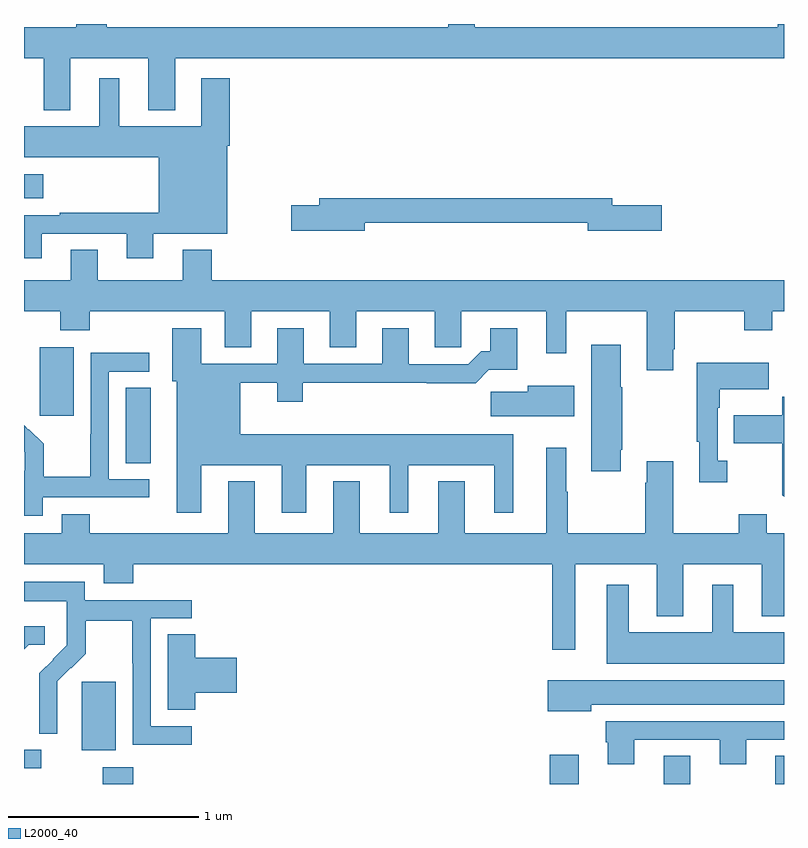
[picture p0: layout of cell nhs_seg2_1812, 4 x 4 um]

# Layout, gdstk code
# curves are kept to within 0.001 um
import gdstk
lib = gdstk.Library(unit=1e-6, precision=1e-09)
def R(c, l, rs):  # rectangles x0, y0, x1, y1
    for r in rs: c.add(gdstk.rectangle(r[:2], r[2:], *l))
def P(c, l, *ps):  # polygons
    for p in ps: c.add(gdstk.Polygon(p, *l))
L2000_40 = (2000, 40)

nhs_seg2_1812 = lib.new_cell('nhs_seg2_1812')
R(nhs_seg2_1812, L2000_40, [(205.414,659.8,205.574,659.887), (207.767,659.8,207.919,659.953), (208.367,659.8,208.507,659.948), (208.955,659.8,209,659.948), (205,659.883,205.09,659.979), (205.304,659.978,205.483,660.339), (205.535,661.489,205.666,661.886), (205.082,661.737,205.261,662.098), (205,662.882,205.102,663.01)])
P(nhs_seg2_1812, L2000_40, [(205.243,663.62),(205.655,663.62),(205.655,663.347),(205.795,663.347),(205.795,663.62),(209,663.62),(209,663.8),(208.967,663.8),(208.967,663.784),(207.373,663.784),(207.373,663.8),(207.233,663.8),(207.233,663.784),(205.436,663.784),(205.436,663.8),(205.276,663.8),(205.276,663.784),(205,663.784),(205,663.62),(205.103,663.62),(205.103,663.347),(205.243,663.347)],
  [(205.093,662.697),(205.541,662.697),(205.541,662.568),(205.681,662.568),(205.681,662.696),(206.071,662.696),(206.071,663.158),(206.084,663.158),(206.084,663.514),(205.934,663.514),(205.934,663.262),(205.501,663.262),(205.501,663.514),(205.397,663.514),(205.397,663.262),(205,663.262),(205,663.098),(205.709,663.098),(205.709,662.806),(205.189,662.806),(205.189,662.793),(205,662.793),(205,662.568),(205.093,662.568)],
  [(206.794,662.754),(207.968,662.754),(207.968,662.711),(208.357,662.711),(208.357,662.846),(208.096,662.846),(208.096,662.882),(206.555,662.882),(206.555,662.846),(206.406,662.846),(206.406,662.711),(206.794,662.711)],
  [(208.417,662.089),(208.425,662.089),(208.425,662.288),(208.792,662.288),(208.792,662.189),(208.938,662.189),(208.938,662.288),(209,662.288),(209,662.452),(205.988,662.452),(205.988,662.611),(205.835,662.611),(205.835,662.452),(205.387,662.452),(205.387,662.612),(205.247,662.612),(205.247,662.452),(205,662.452),(205,662.288),(205.192,662.288),(205.192,662.189),(205.347,662.189),(205.347,662.288),(206.057,662.288),(206.057,662.098),(206.197,662.098),(206.197,662.288),(206.609,662.288),(206.609,662.098),(206.749,662.098),(206.749,662.288),(207.161,662.288),(207.161,662.098),(207.3,662.098),(207.3,662.288),(207.749,662.288),(207.749,662.067),(207.853,662.067),(207.853,662.288),(208.277,662.288),(208.277,661.977),(208.417,661.977)],
  [(205.933,661.478),(206.357,661.478),(206.357,661.227),(206.485,661.227),(206.485,661.478),(206.924,661.478),(206.924,661.227),(207.022,661.227),(207.022,661.478),(207.476,661.478),(207.476,661.227),(207.574,661.227),(207.574,661.642),(206.137,661.642),(206.137,661.912),(206.333,661.912),(206.333,661.811),(206.468,661.811),(206.468,661.912),(207.121,661.912),(207.121,661.91),(207.377,661.91),(207.446,661.979),(207.595,661.979),(207.595,662.2),(207.455,662.2),(207.455,662.077),(207.406,662.077),(207.339,662.01),(207.025,662.01),(207.025,662.2),(206.885,662.2),(206.885,662.013),(206.473,662.013),(206.473,662.2),(206.333,662.2),(206.333,662.013),(205.933,662.013),(205.933,662.2),(205.781,662.2),(205.781,661.92),(205.805,661.92),(205.805,661.227),(205.933,661.227)],
  [(208.141,661.558),(208.149,661.558),(208.149,661.889),(208.141,661.889),(208.141,662.113),(207.986,662.113),(207.986,661.446),(208.141,661.446)],
  [(205.098,661.308),(205.66,661.308),(205.66,661.404),(205.446,661.404),(205.446,661.971),(205.66,661.971),(205.66,662.07),(205.35,662.07),(205.35,661.64),(205.348,661.64),(205.348,661.417),(205.103,661.417),(205.103,661.591),(205.026,661.668),(205.023,661.665),(205,661.688),(205,661.55),(205.004,661.546),(205.004,661.449),(205.002,661.449),(205.002,661.315),(205,661.315),(205,661.211),(205.098,661.211)],
  [(208.702,661.502),(208.65,661.502),(208.65,661.781),(208.663,661.781),(208.663,661.877),(208.919,661.877),(208.919,662.017),(208.542,662.017),(208.542,661.601),(208.553,661.601),(208.553,661.389),(208.702,661.389)],
  [(207.895,661.897),(207.65,661.897),(207.65,661.865),(207.456,661.865),(207.456,661.736),(207.895,661.736)],
  [(209,661.837),(208.992,661.837),(208.992,661.741),(208.735,661.741),(208.735,661.594),(208.992,661.594),(208.992,661.321),(209,661.313)],
  [(205.199,661.219),(205.199,661.12),(205,661.12),(205,660.956),(205.421,660.956),(205.421,660.857),(205.574,660.857),(205.574,660.956),(207.78,660.956),(207.78,660.507),(207.901,660.507),(207.901,660.956),(208.331,660.956),(208.331,660.683),(208.471,660.683),(208.471,660.956),(208.883,660.956),(208.883,660.683),(209,660.683),(209,661.12),(208.909,661.12),(208.909,661.219),(208.762,661.219),(208.762,661.12),(208.417,661.12),(208.417,661.498),(208.277,661.498),(208.277,661.385),(208.27,661.385),(208.27,661.12),(207.863,661.12),(207.863,661.337),(207.853,661.337),(207.853,661.57),(207.749,661.57),(207.749,661.12),(207.319,661.12),(207.319,661.393),(207.179,661.393),(207.179,661.12),(206.767,661.12),(206.767,661.393),(206.627,661.393),(206.627,661.12),(206.215,661.12),(206.215,661.393),(206.075,661.393),(206.075,661.12),(205.347,661.12),(205.347,661.219)],
  [(205.882,660.105),(205.668,660.105),(205.668,660.672),(205.882,660.672),(205.882,660.768),(205.32,660.768),(205.32,660.865),(205,660.865),(205,660.761),(205.224,660.761),(205.224,660.627),(205.226,660.627),(205.226,660.53),(205.08,660.382),(205.08,660.064),(205.176,660.064),(205.175,660.341),(205.245,660.411),(205.248,660.408),(205.325,660.485),(205.325,660.66),(205.57,660.66),(205.57,660.436),(205.572,660.436),(205.572,660.007),(205.882,660.007)],
  [(209,660.598),(208.732,660.598),(208.732,660.85),(208.622,660.85),(208.622,660.598),(208.183,660.598),(208.183,660.85),(208.067,660.85),(208.067,660.434),(209,660.434)],
  [(205.026,660.534),(205.108,660.534),(205.108,660.631),(205,660.631),(205,660.508)],
  [(205.901,660.281),(206.119,660.281),(206.119,660.464),(205.901,660.464),(205.901,660.587),(205.757,660.587),(205.757,660.19),(205.901,660.19)],
  [(207.985,660.218),(209,660.218),(209,660.346),(207.756,660.346),(207.756,660.182),(207.985,660.182)],
  [(208.213,660.033),(208.661,660.033),(208.661,659.904),(208.801,659.904),(208.801,660.033),(209,660.033),(209,660.129),(208.061,660.129),(208.061,660.021),(208.073,660.021),(208.073,659.904),(208.213,659.904)])

lib.write_gds('nhs_seg2_1812.gds')
